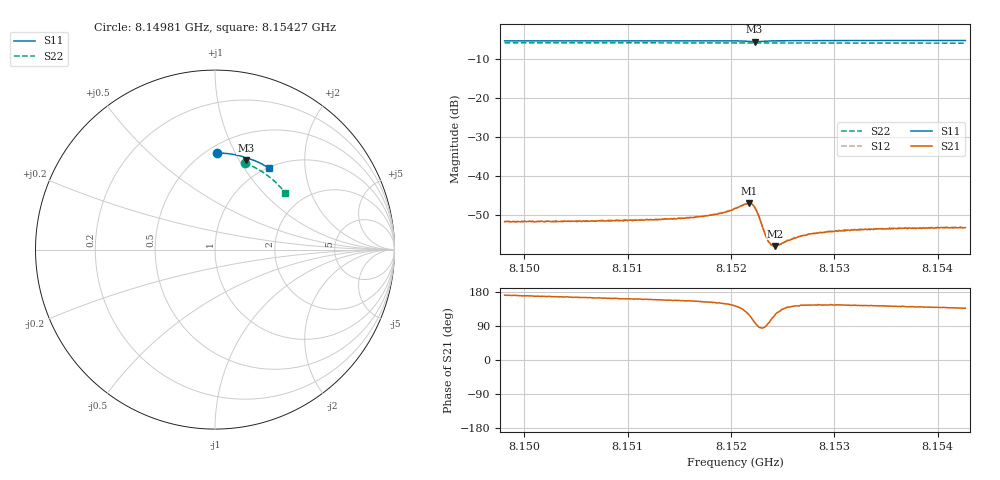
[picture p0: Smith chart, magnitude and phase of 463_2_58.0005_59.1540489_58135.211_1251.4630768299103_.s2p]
#  HZ  S  RI  R  50.00
! Rohde & Schwarz Vector Network Analyzer
! Rohde-Schwarz,ZNB20-2Port,1311601062101988,3.16
! Created: UTC 3/21/2024, 1:11:03 AM
! freq[Hz]  re:S11  im:S11  re:S21  im:S21  re:S12  im:S12  re:S22  im:S22
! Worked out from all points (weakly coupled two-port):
!   401 points, 8.14981 GHz to 8.15427 GHz, reference 50 ohm
!   highest |S21| = -46.93 dB at 8.152174 GHz (marker M1); lowest = -57.8 dB at 8.15243 GHz (marker M2)
!   lowest |S11| = -5.6 dB at 8.15223 GHz (marker M3), VSWR 3.22, Z = 38.6 + j53.2 ohm
!   |S11| at or under -10 dB: nowhere
!   |S22| runs from -6.0 to -5.9 dB; largest |S21 - S12| = 0.00011
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8.1498101e9  0.0107 0.5379  -0.0026 0.00041  -0.00263 0.000439  0.1654 0.482
8.1505571e9  0.0627 0.5356  -0.00255 0.000683  -0.0026 0.000758  0.2097 0.4635
8.1513041e9  0.1147 0.5279  -0.00263 0.00101  -0.00259 0.00107  0.2517 0.4408
8.1516163e9  0.1364 0.5231  -0.00271 0.00123  -0.0027 0.00126  0.2686 0.4301
8.1517836e9  0.1484 0.5198  -0.0028 0.00143  -0.0028 0.00148  0.2776 0.4242
8.1519285e9  0.1591 0.516  -0.00294 0.00178  -0.00294 0.00185  0.285 0.4188
8.15204e9  0.1677 0.5116  -0.00311 0.00234  -0.00307 0.0024  0.2907 0.4147
8.1521181e9  0.1732 0.5062  -0.00292 0.00312  -0.00291 0.0032  0.2947 0.4113
8.1521738e9  0.1744 0.5007  -0.00222 0.00392  -0.00222 0.00397  0.2973 0.409
8.1522073e9  0.1726 0.4981  -0.00136 0.00416  -0.0013 0.00421  0.2989 0.4078
8.1522296e9  0.1707 0.4979  -0.000667 0.00397  -0.000639 0.00404  0.2998 0.407
8.152263e9  0.1688 0.4997  6.4e-05 0.00327  0.000104 0.0033  0.3013 0.4058
8.1523299e9  0.1716 0.5052  9.13e-05 0.00184  0.000117 0.00186  0.3049 0.4034
8.1523634e9  0.1747 0.5066  -0.000194 0.00145  -0.000144 0.00145  0.3065 0.4022
8.1523968e9  0.178 0.5073  -0.000436 0.00124  -0.000402 0.00126  0.3082 0.4009
8.1524303e9  0.1811 0.5074  -0.000646 0.00112  -0.000625 0.00114  0.3099 0.3996
8.1524749e9  0.1849 0.507  -0.000851 0.00105  -0.000863 0.00104  0.3122 0.3978
8.152631e9  0.1971 0.5041  -0.00131 0.000987  -0.00135 0.00102  0.3197 0.3915
8.152787e9  0.2083 0.5005  -0.00151 0.00106  -0.00154 0.00107  0.3273 0.385
8.1530212e9  0.224 0.4944  -0.00165 0.00113  -0.00162 0.00119  0.3381 0.3749
8.1535341e9  0.2567 0.4792  -0.0017 0.00132  -0.00171 0.00138  0.3608 0.352
8.15427e9  0.3009 0.454  -0.00162 0.00152  -0.0016 0.00152  0.3906 0.3166
